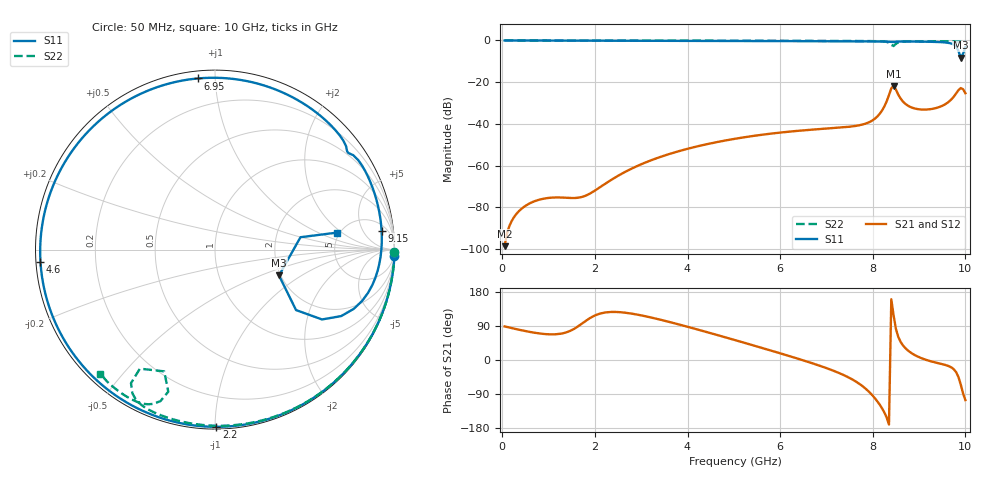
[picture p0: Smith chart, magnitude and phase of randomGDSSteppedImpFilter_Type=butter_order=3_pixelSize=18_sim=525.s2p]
! freq	dB(S11)	phase(S11)	dB(S12)	phase(S12)
!  dB(S21)	phase(S21)	dB(S22)	phase(S22)
!S-par simulation data
#  GHz  S  DB  R 50
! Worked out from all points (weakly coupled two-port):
!   200 points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, 50 MHz to 10 GHz, reference 50 ohm
!   highest |S21| = -21.74 dB at 8.45 GHz (marker M1); lowest = -98.5 dB at 50 MHz (marker M2)
!   lowest |S11| = -8.3 dB at 9.9 GHz (marker M3), VSWR 2.25, Z = 98 - j33.2 ohm
!   |S11| at or under -10 dB: nowhere
!   |S22| runs from -2.7 to 0.0 dB; largest |S21 - S12| = 0
!   S11 on the Smith chart (normalised r, x): 50 MHz: 0, -53; 2.2 GHz: 0.01, -1.01; 4.6 GHz: 0.01, -0.03; 6.95 GHz: 0.04, +0.90; 9.15 GHz: 8, +13; 10 GHz: 4.74, +1.70
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0.05  -0.00 -2.1  -98.53 88.6  -98.53 88.6  -0.00 -0.8
0.45  -0.03 -19.1  -80.00 77.6  -80.00 77.6  -0.01 -6.9
0.8  -0.04 -33.8  -76.26 70.1  -76.26 70.1  -0.02 -12.3
1.75  -0.09 -72.2  -74.75 98.7  -74.75 98.7  -0.03 -26.6
2.2  -0.11 -89.6  -68.97 124.9  -68.97 124.9  -0.04 -33.3
3.4  -0.16 -133.6  -55.89 106.8  -55.89 106.8  -0.07 -50.7
4.6  -0.22 -176.1  -48.83 67.4  -48.83 67.4  -0.10 -67.4
5.05  -0.25 167.8  -47.00 51.7  -47.00 51.7  -0.11 -73.4
5.85  -0.30 138.4  -44.50 23.2  -44.50 23.2  -0.14 -83.9
6.7  -0.35 105.6  -42.71 -8.8  -42.71 -8.8  -0.18 -94.9
6.95  -0.37 95.7  -42.30 -19.2  -42.30 -19.2  -0.20 -98.0
7.95  -0.44 55.1  -38.85 -87.8  -38.85 -87.8  -0.29 -111.5
8.2  -0.49 44.7  -33.56 -127.4  -33.56 -127.4  -0.43 -116.5
8.35  -0.63 38.3  -26.15 -170.2  -26.15 -170.2  -1.12 -122.2
8.45  -0.75 36.0  -21.74 117.6  -21.74 117.6  -2.67 -112.6
8.55  -0.53 32.1  -25.92 61.1  -25.92 61.1  -0.94 -109.8
8.75  -0.50 23.3  -31.12 26.0  -31.12 26.0  -0.45 -115.8
9.15  -0.59 6.5  -33.10 0.4  -33.10 0.4  -0.40 -122.2
9.6  -1.05 -15.8  -30.05 -14.3  -30.05 -14.3  -0.44 -128.0
9.8  -2.95 -33.1  -25.40 -32.1  -25.40 -32.1  -0.48 -130.5
9.9  -8.30 -22.0  -22.80 -64.9  -22.80 -64.9  -0.52 -131.6
10  -3.27 7.9  -25.29 -105.9  -25.29 -105.9  -0.50 -132.6
